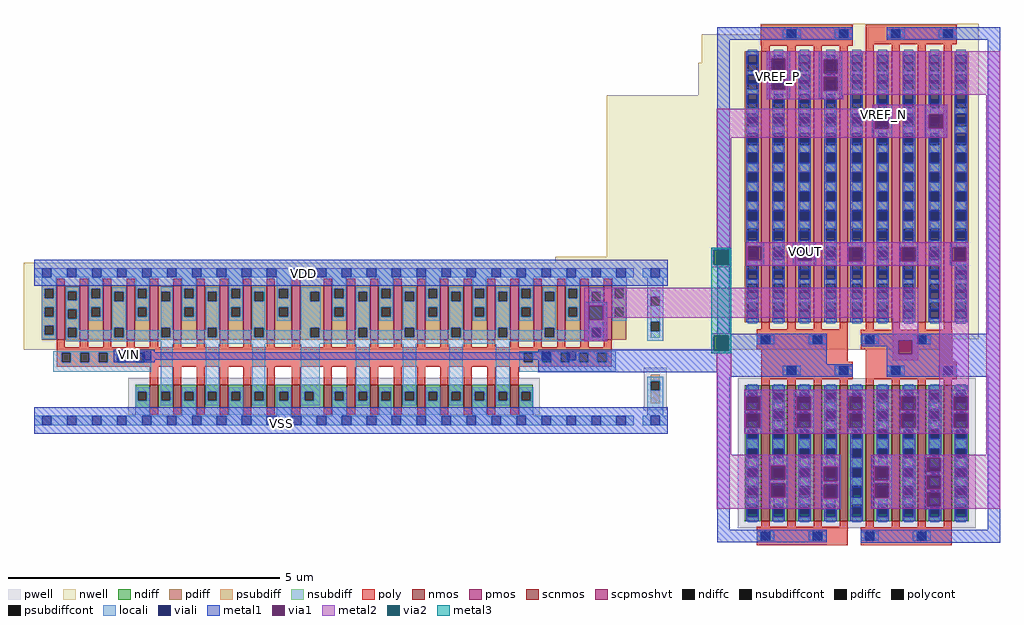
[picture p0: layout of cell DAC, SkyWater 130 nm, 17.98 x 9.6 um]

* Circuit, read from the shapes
.subckt DAC VREF_P VREF_N VOUT VDD VSS VIN
XM1 sky130_fd_sc_hd__clkinv_16_0/Y VIN VSS VSS sky130_fd_pr__nfet_01v8 w=0.42 l=0.15 m=16
XM2 VREF_N VIN VOUT VSS sky130_fd_pr__nfet_01v8 w=2.5 l=0.15 m=4
XM3 VREF_P sky130_fd_sc_hd__clkinv_16_0/Y VOUT VSS sky130_fd_pr__nfet_01v8 w=2.5 l=0.15 m=4
XM4 sky130_fd_sc_hd__clkinv_16_0/Y VIN VDD VDD sky130_fd_pr__pfet_01v8_hvt w=1 l=0.15 m=24
XM5 VREF_P VIN VOUT VDD sky130_fd_pr__pfet_01v8 w=5 l=0.15 m=4
XM6 VREF_N sky130_fd_sc_hd__clkinv_16_0/Y VOUT VDD sky130_fd_pr__pfet_01v8 w=5 l=0.15 m=4
.ends

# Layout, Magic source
magic
tech sky130B
magscale 1 2
<< nwell >>
rect -121 1057 898 1162
rect -135 937 898 1057
rect -472 343 898 937
rect -662 38 898 343
rect -655 0 802 38
<< poly >>
rect 96 1119 434 1197
rect 482 1126 818 1197
rect 291 1100 317 1119
rect 80 2 416 75
rect 464 2 801 74
rect 98 -44 416 2
rect 482 -44 801 2
rect 98 -110 434 -44
rect 482 -110 818 -44
rect 80 -720 416 -653
rect 464 -720 800 -654
<< viali >>
rect -528 46 -494 80
<< metal1 >>
rect -65 1141 434 1188
rect 560 1141 977 1187
rect -2581 235 -247 331
rect -554 162 -470 175
rect -554 110 -539 162
rect -487 110 -470 162
rect -554 80 -470 110
rect -554 46 -528 80
rect -494 46 -470 80
rect -554 31 -470 46
rect -65 59 -19 1141
rect 117 1073 202 1100
rect 117 1021 134 1073
rect 186 1021 202 1073
rect 117 1009 202 1021
rect 117 957 134 1009
rect 186 957 202 1009
rect 117 923 202 957
rect 310 1069 395 1100
rect 310 1017 327 1069
rect 379 1017 395 1069
rect 310 1005 395 1017
rect 310 953 327 1005
rect 379 953 395 1005
rect 310 924 395 953
rect 507 866 580 902
rect 507 814 516 866
rect 568 814 580 866
rect 507 780 580 814
rect 700 867 782 902
rect 700 815 715 867
rect 767 815 782 867
rect 700 780 782 815
rect 41 381 107 396
rect 41 329 48 381
rect 100 329 107 381
rect 41 309 107 329
rect 213 380 298 396
rect 213 328 231 380
rect 283 328 298 380
rect 213 309 298 328
rect 416 377 483 395
rect 416 325 420 377
rect 472 325 483 377
rect 416 309 483 325
rect 608 378 674 395
rect 608 326 614 378
rect 666 326 674 378
rect 608 309 674 326
rect 793 378 862 396
rect 793 326 801 378
rect 853 326 862 378
rect 793 309 862 326
rect 931 59 977 1141
rect -65 0 338 59
rect 468 35 977 59
rect 468 13 602 35
rect -2289 -47 -2138 0
rect -724 -54 338 0
rect 560 -17 602 13
rect 654 -17 977 35
rect -724 -83 434 -54
rect -65 -100 434 -83
rect 560 -100 977 -17
rect -2581 -309 -247 -213
rect -65 -664 -19 -100
rect 34 -171 100 -147
rect 34 -223 41 -171
rect 93 -223 100 -171
rect 34 -235 100 -223
rect 34 -287 41 -235
rect 93 -287 100 -235
rect 34 -309 100 -287
rect 218 -171 293 -147
rect 218 -223 228 -171
rect 280 -223 293 -171
rect 218 -235 293 -223
rect 218 -287 228 -235
rect 280 -287 293 -235
rect 218 -308 293 -287
rect 412 -171 484 -147
rect 412 -223 417 -171
rect 469 -223 484 -171
rect 412 -235 484 -223
rect 412 -287 417 -235
rect 469 -287 484 -235
rect 412 -309 484 -287
rect 607 -171 677 -147
rect 607 -223 614 -171
rect 666 -223 677 -171
rect 607 -235 677 -223
rect 607 -287 614 -235
rect 666 -287 677 -235
rect 607 -309 677 -287
rect 800 -171 862 -147
rect 800 -223 807 -171
rect 859 -223 862 -171
rect 800 -235 862 -223
rect 800 -287 807 -235
rect 859 -287 862 -235
rect 800 -309 862 -287
rect 125 -428 195 -387
rect 125 -480 133 -428
rect 185 -480 195 -428
rect 125 -492 195 -480
rect 125 -544 133 -492
rect 185 -544 195 -492
rect 125 -586 195 -544
rect 316 -432 388 -387
rect 316 -484 327 -432
rect 379 -484 388 -432
rect 316 -496 388 -484
rect 316 -548 327 -496
rect 379 -548 388 -496
rect 316 -588 388 -548
rect 505 -429 580 -387
rect 505 -481 516 -429
rect 568 -481 580 -429
rect 505 -493 580 -481
rect 505 -545 516 -493
rect 568 -545 580 -493
rect 505 -587 580 -545
rect 698 -398 769 -387
rect 698 -450 707 -398
rect 759 -450 769 -398
rect 698 -462 769 -450
rect 698 -514 707 -462
rect 759 -514 769 -462
rect 698 -526 769 -514
rect 698 -578 707 -526
rect 759 -578 769 -526
rect 698 -588 769 -578
rect 931 -664 977 -100
rect -65 -710 338 -664
rect 464 -711 977 -664
<< via1 >>
rect -539 110 -487 162
rect 134 1021 186 1073
rect 134 957 186 1009
rect 327 1017 379 1069
rect 327 953 379 1005
rect 516 814 568 866
rect 715 815 767 867
rect 48 329 100 381
rect 231 328 283 380
rect 420 325 472 377
rect 614 326 666 378
rect 801 326 853 378
rect 602 -17 654 35
rect 41 -223 93 -171
rect 41 -287 93 -235
rect 228 -223 280 -171
rect 228 -287 280 -235
rect 417 -223 469 -171
rect 417 -287 469 -235
rect 614 -223 666 -171
rect 614 -287 666 -235
rect 807 -223 859 -171
rect 807 -287 859 -235
rect 133 -480 185 -428
rect 133 -544 185 -492
rect 327 -484 379 -432
rect 327 -548 379 -496
rect 516 -481 568 -429
rect 516 -545 568 -493
rect 707 -450 759 -398
rect 707 -514 759 -462
rect 707 -578 759 -526
<< metal2 >>
rect 118 1073 977 1100
rect 118 1021 134 1073
rect 186 1069 977 1073
rect 186 1021 327 1069
rect 118 1017 327 1021
rect 379 1017 977 1069
rect 118 1009 977 1017
rect 118 957 134 1009
rect 186 1005 977 1009
rect 186 957 327 1005
rect 118 953 327 957
rect 379 953 977 1005
rect 118 940 977 953
rect 118 923 400 940
rect 507 888 782 902
rect -67 867 782 888
rect -67 866 715 867
rect -67 814 516 866
rect 568 815 715 866
rect 767 815 782 867
rect 568 814 782 815
rect -67 780 782 814
rect -67 375 -13 780
rect -87 368 -13 375
rect -87 312 -77 368
rect -21 312 -13 368
rect -87 303 -13 312
rect 42 381 862 396
rect 42 329 48 381
rect 100 380 862 381
rect 100 329 231 380
rect 42 328 231 329
rect 283 378 862 380
rect 283 377 614 378
rect 283 328 420 377
rect 42 325 420 328
rect 472 326 614 377
rect 666 326 801 378
rect 853 326 862 378
rect 472 325 862 326
rect 42 309 862 325
rect -554 162 675 228
rect -554 110 -539 162
rect -487 118 675 162
rect -487 110 -470 118
rect -554 31 -470 110
rect -87 51 -13 61
rect -87 -5 -78 51
rect -22 -5 -13 51
rect -87 -14 -13 -5
rect -67 -388 -13 -14
rect 581 35 675 118
rect 581 -17 602 35
rect 654 -17 675 35
rect 581 -40 675 -17
rect 754 -147 862 309
rect 34 -171 862 -147
rect 34 -223 41 -171
rect 93 -223 228 -171
rect 280 -223 417 -171
rect 469 -223 614 -171
rect 666 -223 807 -171
rect 859 -223 862 -171
rect 34 -235 862 -223
rect 34 -287 41 -235
rect 93 -287 228 -235
rect 280 -287 417 -235
rect 469 -287 614 -235
rect 666 -287 807 -235
rect 859 -287 862 -235
rect 34 -309 862 -287
rect 927 -387 977 940
rect 125 -388 387 -387
rect -67 -428 387 -388
rect -67 -480 133 -428
rect 185 -432 387 -428
rect 185 -480 327 -432
rect -67 -484 327 -480
rect 379 -484 387 -432
rect -67 -492 387 -484
rect -67 -544 133 -492
rect 185 -496 387 -492
rect 185 -544 327 -496
rect -67 -548 327 -544
rect 379 -548 387 -496
rect -67 -587 387 -548
rect 501 -398 977 -387
rect 501 -429 707 -398
rect 501 -481 516 -429
rect 568 -450 707 -429
rect 759 -450 977 -398
rect 568 -462 977 -450
rect 568 -481 707 -462
rect 501 -493 707 -481
rect 501 -545 516 -493
rect 568 -514 707 -493
rect 759 -514 977 -462
rect 568 -526 977 -514
rect 568 -545 707 -526
rect 501 -578 707 -545
rect 759 -578 977 -526
rect 501 -587 977 -578
<< via2 >>
rect -77 312 -21 368
rect -78 -5 -22 51
<< metal3 >>
rect -87 368 -13 375
rect -87 312 -77 368
rect -21 312 -13 368
rect -87 51 -13 312
rect -87 -5 -78 51
rect -22 -5 -13 51
rect -87 -14 -13 -5
use sky130_fd_pr__nfet_01v8_WWN8PW  sky130_fd_pr__nfet_01v8_WWN8PW_0
transform 1 0 641 0 1 -382
box -247 -338 247 338
use sky130_fd_pr__nfet_01v8_WWN8PW  sky130_fd_pr__nfet_01v8_WWN8PW_1
transform 1 0 257 0 1 -382
box -247 -338 247 338
use sky130_fd_pr__pfet_01v8_52DJHB  sky130_fd_pr__pfet_01v8_52DJHB_0
transform 1 0 641 0 1 600
box -257 -600 257 600
use sky130_fd_pr__pfet_01v8_52DJHB  sky130_fd_pr__pfet_01v8_52DJHB_1
transform 1 0 257 0 1 600
box -257 -600 257 600
use sky130_fd_sc_hd__clkinv_16  sky130_fd_sc_hd__clkinv_16_0
transform 1 0 -2581 0 1 -261
box -38 -48 2246 592
use sky130_fd_sc_hd__tapvpwrvgnd_1  sky130_fd_sc_hd__tapvpwrvgnd_1_0
transform 1 0 -339 0 1 -261
box -38 -48 130 592
<< labels >>
flabel metal2 s 159 1006 159 1006 0 FreeSans 600 0 0 0 VREF_P
port 1 nsew
flabel metal2 s 546 865 546 865 0 FreeSans 600 0 0 0 VREF_N
port 2 nsew
flabel metal2 s 260 363 260 363 0 FreeSans 600 0 0 0 VOUT
port 3 nsew
flabel metal1 s -1590 282 -1590 282 0 FreeSans 800 0 0 0 VDD
port 4 nsew
flabel metal1 s -1671 -271 -1671 -271 0 FreeSans 800 0 0 0 VSS
port 5 nsew
flabel metal1 s -2230 -19 -2230 -19 0 FreeSans 800 0 0 0 VIN
port 6 nsew
<< end >>

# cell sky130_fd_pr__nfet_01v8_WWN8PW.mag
magic
tech sky130B
magscale 1 2
<< pwell >>
rect -247 -276 247 276
<< nmos >>
rect -159 -250 -129 250
rect -63 -250 -33 250
rect 33 -250 63 250
rect 129 -250 159 250
<< ndiff >>
rect -221 221 -159 250
rect -221 187 -209 221
rect -175 187 -159 221
rect -221 153 -159 187
rect -221 119 -209 153
rect -175 119 -159 153
rect -221 85 -159 119
rect -221 51 -209 85
rect -175 51 -159 85
rect -221 17 -159 51
rect -221 -17 -209 17
rect -175 -17 -159 17
rect -221 -51 -159 -17
rect -221 -85 -209 -51
rect -175 -85 -159 -51
rect -221 -119 -159 -85
rect -221 -153 -209 -119
rect -175 -153 -159 -119
rect -221 -187 -159 -153
rect -221 -221 -209 -187
rect -175 -221 -159 -187
rect -221 -250 -159 -221
rect -129 221 -63 250
rect -129 187 -113 221
rect -79 187 -63 221
rect -129 153 -63 187
rect -129 119 -113 153
rect -79 119 -63 153
rect -129 85 -63 119
rect -129 51 -113 85
rect -79 51 -63 85
rect -129 17 -63 51
rect -129 -17 -113 17
rect -79 -17 -63 17
rect -129 -51 -63 -17
rect -129 -85 -113 -51
rect -79 -85 -63 -51
rect -129 -119 -63 -85
rect -129 -153 -113 -119
rect -79 -153 -63 -119
rect -129 -187 -63 -153
rect -129 -221 -113 -187
rect -79 -221 -63 -187
rect -129 -250 -63 -221
rect -33 221 33 250
rect -33 187 -17 221
rect 17 187 33 221
rect -33 153 33 187
rect -33 119 -17 153
rect 17 119 33 153
rect -33 85 33 119
rect -33 51 -17 85
rect 17 51 33 85
rect -33 17 33 51
rect -33 -17 -17 17
rect 17 -17 33 17
rect -33 -51 33 -17
rect -33 -85 -17 -51
rect 17 -85 33 -51
rect -33 -119 33 -85
rect -33 -153 -17 -119
rect 17 -153 33 -119
rect -33 -187 33 -153
rect -33 -221 -17 -187
rect 17 -221 33 -187
rect -33 -250 33 -221
rect 63 221 129 250
rect 63 187 79 221
rect 113 187 129 221
rect 63 153 129 187
rect 63 119 79 153
rect 113 119 129 153
rect 63 85 129 119
rect 63 51 79 85
rect 113 51 129 85
rect 63 17 129 51
rect 63 -17 79 17
rect 113 -17 129 17
rect 63 -51 129 -17
rect 63 -85 79 -51
rect 113 -85 129 -51
rect 63 -119 129 -85
rect 63 -153 79 -119
rect 113 -153 129 -119
rect 63 -187 129 -153
rect 63 -221 79 -187
rect 113 -221 129 -187
rect 63 -250 129 -221
rect 159 221 221 250
rect 159 187 175 221
rect 209 187 221 221
rect 159 153 221 187
rect 159 119 175 153
rect 209 119 221 153
rect 159 85 221 119
rect 159 51 175 85
rect 209 51 221 85
rect 159 17 221 51
rect 159 -17 175 17
rect 209 -17 221 17
rect 159 -51 221 -17
rect 159 -85 175 -51
rect 209 -85 221 -51
rect 159 -119 221 -85
rect 159 -153 175 -119
rect 209 -153 221 -119
rect 159 -187 221 -153
rect 159 -221 175 -187
rect 209 -221 221 -187
rect 159 -250 221 -221
<< ndiffc >>
rect -209 187 -175 221
rect -209 119 -175 153
rect -209 51 -175 85
rect -209 -17 -175 17
rect -209 -85 -175 -51
rect -209 -153 -175 -119
rect -209 -221 -175 -187
rect -113 187 -79 221
rect -113 119 -79 153
rect -113 51 -79 85
rect -113 -17 -79 17
rect -113 -85 -79 -51
rect -113 -153 -79 -119
rect -113 -221 -79 -187
rect -17 187 17 221
rect -17 119 17 153
rect -17 51 17 85
rect -17 -17 17 17
rect -17 -85 17 -51
rect -17 -153 17 -119
rect -17 -221 17 -187
rect 79 187 113 221
rect 79 119 113 153
rect 79 51 113 85
rect 79 -17 113 17
rect 79 -85 113 -51
rect 79 -153 113 -119
rect 79 -221 113 -187
rect 175 187 209 221
rect 175 119 209 153
rect 175 51 209 85
rect 175 -17 209 17
rect 175 -85 209 -51
rect 175 -153 209 -119
rect 175 -221 209 -187
<< poly >>
rect -81 322 -15 338
rect -81 288 -65 322
rect -31 288 -15 322
rect -159 250 -129 276
rect -81 272 -15 288
rect 111 322 177 338
rect 111 288 127 322
rect 161 288 177 322
rect -63 250 -33 272
rect 33 250 63 276
rect 111 272 177 288
rect 129 250 159 272
rect -159 -272 -129 -250
rect -177 -288 -111 -272
rect -63 -276 -33 -250
rect 33 -272 63 -250
rect -177 -322 -161 -288
rect -127 -322 -111 -288
rect -177 -338 -111 -322
rect 15 -288 81 -272
rect 129 -276 159 -250
rect 15 -322 31 -288
rect 65 -322 81 -288
rect 15 -338 81 -322
<< polycont >>
rect -65 288 -31 322
rect 127 288 161 322
rect -161 -322 -127 -288
rect 31 -322 65 -288
<< locali >>
rect -81 288 -65 322
rect -31 288 -15 322
rect 111 288 127 322
rect 161 288 177 322
rect -209 233 -175 254
rect -209 161 -175 187
rect -209 89 -175 119
rect -209 17 -175 51
rect -209 -51 -175 -17
rect -209 -119 -175 -89
rect -209 -187 -175 -161
rect -209 -254 -175 -233
rect -113 233 -79 254
rect -113 161 -79 187
rect -113 89 -79 119
rect -113 17 -79 51
rect -113 -51 -79 -17
rect -113 -119 -79 -89
rect -113 -187 -79 -161
rect -113 -254 -79 -233
rect -17 233 17 254
rect -17 161 17 187
rect -17 89 17 119
rect -17 17 17 51
rect -17 -51 17 -17
rect -17 -119 17 -89
rect -17 -187 17 -161
rect -17 -254 17 -233
rect 79 233 113 254
rect 79 161 113 187
rect 79 89 113 119
rect 79 17 113 51
rect 79 -51 113 -17
rect 79 -119 113 -89
rect 79 -187 113 -161
rect 79 -254 113 -233
rect 175 233 209 254
rect 175 161 209 187
rect 175 89 209 119
rect 175 17 209 51
rect 175 -51 209 -17
rect 175 -119 209 -89
rect 175 -187 209 -161
rect 175 -254 209 -233
rect -177 -322 -161 -288
rect -127 -322 -111 -288
rect 15 -322 31 -288
rect 65 -322 81 -288
<< viali >>
rect -65 288 -31 322
rect 127 288 161 322
rect -209 221 -175 233
rect -209 199 -175 221
rect -209 153 -175 161
rect -209 127 -175 153
rect -209 85 -175 89
rect -209 55 -175 85
rect -209 -17 -175 17
rect -209 -85 -175 -55
rect -209 -89 -175 -85
rect -209 -153 -175 -127
rect -209 -161 -175 -153
rect -209 -221 -175 -199
rect -209 -233 -175 -221
rect -113 221 -79 233
rect -113 199 -79 221
rect -113 153 -79 161
rect -113 127 -79 153
rect -113 85 -79 89
rect -113 55 -79 85
rect -113 -17 -79 17
rect -113 -85 -79 -55
rect -113 -89 -79 -85
rect -113 -153 -79 -127
rect -113 -161 -79 -153
rect -113 -221 -79 -199
rect -113 -233 -79 -221
rect -17 221 17 233
rect -17 199 17 221
rect -17 153 17 161
rect -17 127 17 153
rect -17 85 17 89
rect -17 55 17 85
rect -17 -17 17 17
rect -17 -85 17 -55
rect -17 -89 17 -85
rect -17 -153 17 -127
rect -17 -161 17 -153
rect -17 -221 17 -199
rect -17 -233 17 -221
rect 79 221 113 233
rect 79 199 113 221
rect 79 153 113 161
rect 79 127 113 153
rect 79 85 113 89
rect 79 55 113 85
rect 79 -17 113 17
rect 79 -85 113 -55
rect 79 -89 113 -85
rect 79 -153 113 -127
rect 79 -161 113 -153
rect 79 -221 113 -199
rect 79 -233 113 -221
rect 175 221 209 233
rect 175 199 209 221
rect 175 153 209 161
rect 175 127 209 153
rect 175 85 209 89
rect 175 55 209 85
rect 175 -17 209 17
rect 175 -85 209 -55
rect 175 -89 209 -85
rect 175 -153 209 -127
rect 175 -161 209 -153
rect 175 -221 209 -199
rect 175 -233 209 -221
rect -161 -322 -127 -288
rect 31 -322 65 -288
<< metal1 >>
rect -77 322 -19 328
rect -77 288 -65 322
rect -31 288 -19 322
rect -77 282 -19 288
rect 115 322 173 328
rect 115 288 127 322
rect 161 288 173 322
rect 115 282 173 288
rect -215 233 -169 250
rect -215 199 -209 233
rect -175 199 -169 233
rect -215 161 -169 199
rect -215 127 -209 161
rect -175 127 -169 161
rect -215 89 -169 127
rect -215 55 -209 89
rect -175 55 -169 89
rect -215 17 -169 55
rect -215 -17 -209 17
rect -175 -17 -169 17
rect -215 -55 -169 -17
rect -215 -89 -209 -55
rect -175 -89 -169 -55
rect -215 -127 -169 -89
rect -215 -161 -209 -127
rect -175 -161 -169 -127
rect -215 -199 -169 -161
rect -215 -233 -209 -199
rect -175 -233 -169 -199
rect -215 -250 -169 -233
rect -119 233 -73 250
rect -119 199 -113 233
rect -79 199 -73 233
rect -119 161 -73 199
rect -119 127 -113 161
rect -79 127 -73 161
rect -119 89 -73 127
rect -119 55 -113 89
rect -79 55 -73 89
rect -119 17 -73 55
rect -119 -17 -113 17
rect -79 -17 -73 17
rect -119 -55 -73 -17
rect -119 -89 -113 -55
rect -79 -89 -73 -55
rect -119 -127 -73 -89
rect -119 -161 -113 -127
rect -79 -161 -73 -127
rect -119 -199 -73 -161
rect -119 -233 -113 -199
rect -79 -233 -73 -199
rect -119 -250 -73 -233
rect -23 233 23 250
rect -23 199 -17 233
rect 17 199 23 233
rect -23 161 23 199
rect -23 127 -17 161
rect 17 127 23 161
rect -23 89 23 127
rect -23 55 -17 89
rect 17 55 23 89
rect -23 17 23 55
rect -23 -17 -17 17
rect 17 -17 23 17
rect -23 -55 23 -17
rect -23 -89 -17 -55
rect 17 -89 23 -55
rect -23 -127 23 -89
rect -23 -161 -17 -127
rect 17 -161 23 -127
rect -23 -199 23 -161
rect -23 -233 -17 -199
rect 17 -233 23 -199
rect -23 -250 23 -233
rect 73 233 119 250
rect 73 199 79 233
rect 113 199 119 233
rect 73 161 119 199
rect 73 127 79 161
rect 113 127 119 161
rect 73 89 119 127
rect 73 55 79 89
rect 113 55 119 89
rect 73 17 119 55
rect 73 -17 79 17
rect 113 -17 119 17
rect 73 -55 119 -17
rect 73 -89 79 -55
rect 113 -89 119 -55
rect 73 -127 119 -89
rect 73 -161 79 -127
rect 113 -161 119 -127
rect 73 -199 119 -161
rect 73 -233 79 -199
rect 113 -233 119 -199
rect 73 -250 119 -233
rect 169 233 215 250
rect 169 199 175 233
rect 209 199 215 233
rect 169 161 215 199
rect 169 127 175 161
rect 209 127 215 161
rect 169 89 215 127
rect 169 55 175 89
rect 209 55 215 89
rect 169 17 215 55
rect 169 -17 175 17
rect 209 -17 215 17
rect 169 -55 215 -17
rect 169 -89 175 -55
rect 209 -89 215 -55
rect 169 -127 215 -89
rect 169 -161 175 -127
rect 209 -161 215 -127
rect 169 -199 215 -161
rect 169 -233 175 -199
rect 209 -233 215 -199
rect 169 -250 215 -233
rect -173 -288 -115 -282
rect -173 -322 -161 -288
rect -127 -322 -115 -288
rect -173 -328 -115 -322
rect 19 -288 77 -282
rect 19 -322 31 -288
rect 65 -322 77 -288
rect 19 -328 77 -322
<< end >>

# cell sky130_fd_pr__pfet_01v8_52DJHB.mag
magic
tech sky130B
magscale 1 2
<< nwell >>
rect -161 562 257 600
rect -257 -562 257 562
rect -257 -600 161 -562
<< pmos >>
rect -159 -500 -129 500
rect -63 -500 -33 500
rect 33 -500 63 500
rect 129 -500 159 500
<< pdiff >>
rect -221 459 -159 500
rect -221 425 -209 459
rect -175 425 -159 459
rect -221 391 -159 425
rect -221 357 -209 391
rect -175 357 -159 391
rect -221 323 -159 357
rect -221 289 -209 323
rect -175 289 -159 323
rect -221 255 -159 289
rect -221 221 -209 255
rect -175 221 -159 255
rect -221 187 -159 221
rect -221 153 -209 187
rect -175 153 -159 187
rect -221 119 -159 153
rect -221 85 -209 119
rect -175 85 -159 119
rect -221 51 -159 85
rect -221 17 -209 51
rect -175 17 -159 51
rect -221 -17 -159 17
rect -221 -51 -209 -17
rect -175 -51 -159 -17
rect -221 -85 -159 -51
rect -221 -119 -209 -85
rect -175 -119 -159 -85
rect -221 -153 -159 -119
rect -221 -187 -209 -153
rect -175 -187 -159 -153
rect -221 -221 -159 -187
rect -221 -255 -209 -221
rect -175 -255 -159 -221
rect -221 -289 -159 -255
rect -221 -323 -209 -289
rect -175 -323 -159 -289
rect -221 -357 -159 -323
rect -221 -391 -209 -357
rect -175 -391 -159 -357
rect -221 -425 -159 -391
rect -221 -459 -209 -425
rect -175 -459 -159 -425
rect -221 -500 -159 -459
rect -129 459 -63 500
rect -129 425 -113 459
rect -79 425 -63 459
rect -129 391 -63 425
rect -129 357 -113 391
rect -79 357 -63 391
rect -129 323 -63 357
rect -129 289 -113 323
rect -79 289 -63 323
rect -129 255 -63 289
rect -129 221 -113 255
rect -79 221 -63 255
rect -129 187 -63 221
rect -129 153 -113 187
rect -79 153 -63 187
rect -129 119 -63 153
rect -129 85 -113 119
rect -79 85 -63 119
rect -129 51 -63 85
rect -129 17 -113 51
rect -79 17 -63 51
rect -129 -17 -63 17
rect -129 -51 -113 -17
rect -79 -51 -63 -17
rect -129 -85 -63 -51
rect -129 -119 -113 -85
rect -79 -119 -63 -85
rect -129 -153 -63 -119
rect -129 -187 -113 -153
rect -79 -187 -63 -153
rect -129 -221 -63 -187
rect -129 -255 -113 -221
rect -79 -255 -63 -221
rect -129 -289 -63 -255
rect -129 -323 -113 -289
rect -79 -323 -63 -289
rect -129 -357 -63 -323
rect -129 -391 -113 -357
rect -79 -391 -63 -357
rect -129 -425 -63 -391
rect -129 -459 -113 -425
rect -79 -459 -63 -425
rect -129 -500 -63 -459
rect -33 459 33 500
rect -33 425 -17 459
rect 17 425 33 459
rect -33 391 33 425
rect -33 357 -17 391
rect 17 357 33 391
rect -33 323 33 357
rect -33 289 -17 323
rect 17 289 33 323
rect -33 255 33 289
rect -33 221 -17 255
rect 17 221 33 255
rect -33 187 33 221
rect -33 153 -17 187
rect 17 153 33 187
rect -33 119 33 153
rect -33 85 -17 119
rect 17 85 33 119
rect -33 51 33 85
rect -33 17 -17 51
rect 17 17 33 51
rect -33 -17 33 17
rect -33 -51 -17 -17
rect 17 -51 33 -17
rect -33 -85 33 -51
rect -33 -119 -17 -85
rect 17 -119 33 -85
rect -33 -153 33 -119
rect -33 -187 -17 -153
rect 17 -187 33 -153
rect -33 -221 33 -187
rect -33 -255 -17 -221
rect 17 -255 33 -221
rect -33 -289 33 -255
rect -33 -323 -17 -289
rect 17 -323 33 -289
rect -33 -357 33 -323
rect -33 -391 -17 -357
rect 17 -391 33 -357
rect -33 -425 33 -391
rect -33 -459 -17 -425
rect 17 -459 33 -425
rect -33 -500 33 -459
rect 63 459 129 500
rect 63 425 79 459
rect 113 425 129 459
rect 63 391 129 425
rect 63 357 79 391
rect 113 357 129 391
rect 63 323 129 357
rect 63 289 79 323
rect 113 289 129 323
rect 63 255 129 289
rect 63 221 79 255
rect 113 221 129 255
rect 63 187 129 221
rect 63 153 79 187
rect 113 153 129 187
rect 63 119 129 153
rect 63 85 79 119
rect 113 85 129 119
rect 63 51 129 85
rect 63 17 79 51
rect 113 17 129 51
rect 63 -17 129 17
rect 63 -51 79 -17
rect 113 -51 129 -17
rect 63 -85 129 -51
rect 63 -119 79 -85
rect 113 -119 129 -85
rect 63 -153 129 -119
rect 63 -187 79 -153
rect 113 -187 129 -153
rect 63 -221 129 -187
rect 63 -255 79 -221
rect 113 -255 129 -221
rect 63 -289 129 -255
rect 63 -323 79 -289
rect 113 -323 129 -289
rect 63 -357 129 -323
rect 63 -391 79 -357
rect 113 -391 129 -357
rect 63 -425 129 -391
rect 63 -459 79 -425
rect 113 -459 129 -425
rect 63 -500 129 -459
rect 159 459 221 500
rect 159 425 175 459
rect 209 425 221 459
rect 159 391 221 425
rect 159 357 175 391
rect 209 357 221 391
rect 159 323 221 357
rect 159 289 175 323
rect 209 289 221 323
rect 159 255 221 289
rect 159 221 175 255
rect 209 221 221 255
rect 159 187 221 221
rect 159 153 175 187
rect 209 153 221 187
rect 159 119 221 153
rect 159 85 175 119
rect 209 85 221 119
rect 159 51 221 85
rect 159 17 175 51
rect 209 17 221 51
rect 159 -17 221 17
rect 159 -51 175 -17
rect 209 -51 221 -17
rect 159 -85 221 -51
rect 159 -119 175 -85
rect 209 -119 221 -85
rect 159 -153 221 -119
rect 159 -187 175 -153
rect 209 -187 221 -153
rect 159 -221 221 -187
rect 159 -255 175 -221
rect 209 -255 221 -221
rect 159 -289 221 -255
rect 159 -323 175 -289
rect 209 -323 221 -289
rect 159 -357 221 -323
rect 159 -391 175 -357
rect 209 -391 221 -357
rect 159 -425 221 -391
rect 159 -459 175 -425
rect 209 -459 221 -425
rect 159 -500 221 -459
<< pdiffc >>
rect -209 425 -175 459
rect -209 357 -175 391
rect -209 289 -175 323
rect -209 221 -175 255
rect -209 153 -175 187
rect -209 85 -175 119
rect -209 17 -175 51
rect -209 -51 -175 -17
rect -209 -119 -175 -85
rect -209 -187 -175 -153
rect -209 -255 -175 -221
rect -209 -323 -175 -289
rect -209 -391 -175 -357
rect -209 -459 -175 -425
rect -113 425 -79 459
rect -113 357 -79 391
rect -113 289 -79 323
rect -113 221 -79 255
rect -113 153 -79 187
rect -113 85 -79 119
rect -113 17 -79 51
rect -113 -51 -79 -17
rect -113 -119 -79 -85
rect -113 -187 -79 -153
rect -113 -255 -79 -221
rect -113 -323 -79 -289
rect -113 -391 -79 -357
rect -113 -459 -79 -425
rect -17 425 17 459
rect -17 357 17 391
rect -17 289 17 323
rect -17 221 17 255
rect -17 153 17 187
rect -17 85 17 119
rect -17 17 17 51
rect -17 -51 17 -17
rect -17 -119 17 -85
rect -17 -187 17 -153
rect -17 -255 17 -221
rect -17 -323 17 -289
rect -17 -391 17 -357
rect -17 -459 17 -425
rect 79 425 113 459
rect 79 357 113 391
rect 79 289 113 323
rect 79 221 113 255
rect 79 153 113 187
rect 79 85 113 119
rect 79 17 113 51
rect 79 -51 113 -17
rect 79 -119 113 -85
rect 79 -187 113 -153
rect 79 -255 113 -221
rect 79 -323 113 -289
rect 79 -391 113 -357
rect 79 -459 113 -425
rect 175 425 209 459
rect 175 357 209 391
rect 175 289 209 323
rect 175 221 209 255
rect 175 153 209 187
rect 175 85 209 119
rect 175 17 209 51
rect 175 -51 209 -17
rect 175 -119 209 -85
rect 175 -187 209 -153
rect 175 -255 209 -221
rect 175 -323 209 -289
rect 175 -391 209 -357
rect 175 -459 209 -425
<< poly >>
rect -81 581 -15 597
rect -81 547 -65 581
rect -31 547 -15 581
rect -81 531 -15 547
rect 111 581 177 597
rect 111 547 127 581
rect 161 547 177 581
rect 111 531 177 547
rect -159 500 -129 526
rect -63 500 -33 531
rect 33 500 63 526
rect 129 500 159 531
rect -159 -531 -129 -500
rect -63 -526 -33 -500
rect 33 -531 63 -500
rect 129 -526 159 -500
rect -177 -547 -111 -531
rect -177 -581 -161 -547
rect -127 -581 -111 -547
rect -177 -597 -111 -581
rect 15 -547 81 -531
rect 15 -581 31 -547
rect 65 -581 81 -547
rect 15 -597 81 -581
<< polycont >>
rect -65 547 -31 581
rect 127 547 161 581
rect -161 -581 -127 -547
rect 31 -581 65 -547
<< locali >>
rect -81 547 -65 581
rect -31 547 -15 581
rect 111 547 127 581
rect 161 547 177 581
rect -209 485 -175 504
rect -209 413 -175 425
rect -209 341 -175 357
rect -209 269 -175 289
rect -209 197 -175 221
rect -209 125 -175 153
rect -209 53 -175 85
rect -209 -17 -175 17
rect -209 -85 -175 -53
rect -209 -153 -175 -125
rect -209 -221 -175 -197
rect -209 -289 -175 -269
rect -209 -357 -175 -341
rect -209 -425 -175 -413
rect -209 -504 -175 -485
rect -113 485 -79 504
rect -113 413 -79 425
rect -113 341 -79 357
rect -113 269 -79 289
rect -113 197 -79 221
rect -113 125 -79 153
rect -113 53 -79 85
rect -113 -17 -79 17
rect -113 -85 -79 -53
rect -113 -153 -79 -125
rect -113 -221 -79 -197
rect -113 -289 -79 -269
rect -113 -357 -79 -341
rect -113 -425 -79 -413
rect -113 -504 -79 -485
rect -17 485 17 504
rect -17 413 17 425
rect -17 341 17 357
rect -17 269 17 289
rect -17 197 17 221
rect -17 125 17 153
rect -17 53 17 85
rect -17 -17 17 17
rect -17 -85 17 -53
rect -17 -153 17 -125
rect -17 -221 17 -197
rect -17 -289 17 -269
rect -17 -357 17 -341
rect -17 -425 17 -413
rect -17 -504 17 -485
rect 79 485 113 504
rect 79 413 113 425
rect 79 341 113 357
rect 79 269 113 289
rect 79 197 113 221
rect 79 125 113 153
rect 79 53 113 85
rect 79 -17 113 17
rect 79 -85 113 -53
rect 79 -153 113 -125
rect 79 -221 113 -197
rect 79 -289 113 -269
rect 79 -357 113 -341
rect 79 -425 113 -413
rect 79 -504 113 -485
rect 175 485 209 504
rect 175 413 209 425
rect 175 341 209 357
rect 175 269 209 289
rect 175 197 209 221
rect 175 125 209 153
rect 175 53 209 85
rect 175 -17 209 17
rect 175 -85 209 -53
rect 175 -153 209 -125
rect 175 -221 209 -197
rect 175 -289 209 -269
rect 175 -357 209 -341
rect 175 -425 209 -413
rect 175 -504 209 -485
rect -177 -581 -161 -547
rect -127 -581 -111 -547
rect 15 -581 31 -547
rect 65 -581 81 -547
<< viali >>
rect -65 547 -31 581
rect 127 547 161 581
rect -209 459 -175 485
rect -209 451 -175 459
rect -209 391 -175 413
rect -209 379 -175 391
rect -209 323 -175 341
rect -209 307 -175 323
rect -209 255 -175 269
rect -209 235 -175 255
rect -209 187 -175 197
rect -209 163 -175 187
rect -209 119 -175 125
rect -209 91 -175 119
rect -209 51 -175 53
rect -209 19 -175 51
rect -209 -51 -175 -19
rect -209 -53 -175 -51
rect -209 -119 -175 -91
rect -209 -125 -175 -119
rect -209 -187 -175 -163
rect -209 -197 -175 -187
rect -209 -255 -175 -235
rect -209 -269 -175 -255
rect -209 -323 -175 -307
rect -209 -341 -175 -323
rect -209 -391 -175 -379
rect -209 -413 -175 -391
rect -209 -459 -175 -451
rect -209 -485 -175 -459
rect -113 459 -79 485
rect -113 451 -79 459
rect -113 391 -79 413
rect -113 379 -79 391
rect -113 323 -79 341
rect -113 307 -79 323
rect -113 255 -79 269
rect -113 235 -79 255
rect -113 187 -79 197
rect -113 163 -79 187
rect -113 119 -79 125
rect -113 91 -79 119
rect -113 51 -79 53
rect -113 19 -79 51
rect -113 -51 -79 -19
rect -113 -53 -79 -51
rect -113 -119 -79 -91
rect -113 -125 -79 -119
rect -113 -187 -79 -163
rect -113 -197 -79 -187
rect -113 -255 -79 -235
rect -113 -269 -79 -255
rect -113 -323 -79 -307
rect -113 -341 -79 -323
rect -113 -391 -79 -379
rect -113 -413 -79 -391
rect -113 -459 -79 -451
rect -113 -485 -79 -459
rect -17 459 17 485
rect -17 451 17 459
rect -17 391 17 413
rect -17 379 17 391
rect -17 323 17 341
rect -17 307 17 323
rect -17 255 17 269
rect -17 235 17 255
rect -17 187 17 197
rect -17 163 17 187
rect -17 119 17 125
rect -17 91 17 119
rect -17 51 17 53
rect -17 19 17 51
rect -17 -51 17 -19
rect -17 -53 17 -51
rect -17 -119 17 -91
rect -17 -125 17 -119
rect -17 -187 17 -163
rect -17 -197 17 -187
rect -17 -255 17 -235
rect -17 -269 17 -255
rect -17 -323 17 -307
rect -17 -341 17 -323
rect -17 -391 17 -379
rect -17 -413 17 -391
rect -17 -459 17 -451
rect -17 -485 17 -459
rect 79 459 113 485
rect 79 451 113 459
rect 79 391 113 413
rect 79 379 113 391
rect 79 323 113 341
rect 79 307 113 323
rect 79 255 113 269
rect 79 235 113 255
rect 79 187 113 197
rect 79 163 113 187
rect 79 119 113 125
rect 79 91 113 119
rect 79 51 113 53
rect 79 19 113 51
rect 79 -51 113 -19
rect 79 -53 113 -51
rect 79 -119 113 -91
rect 79 -125 113 -119
rect 79 -187 113 -163
rect 79 -197 113 -187
rect 79 -255 113 -235
rect 79 -269 113 -255
rect 79 -323 113 -307
rect 79 -341 113 -323
rect 79 -391 113 -379
rect 79 -413 113 -391
rect 79 -459 113 -451
rect 79 -485 113 -459
rect 175 459 209 485
rect 175 451 209 459
rect 175 391 209 413
rect 175 379 209 391
rect 175 323 209 341
rect 175 307 209 323
rect 175 255 209 269
rect 175 235 209 255
rect 175 187 209 197
rect 175 163 209 187
rect 175 119 209 125
rect 175 91 209 119
rect 175 51 209 53
rect 175 19 209 51
rect 175 -51 209 -19
rect 175 -53 209 -51
rect 175 -119 209 -91
rect 175 -125 209 -119
rect 175 -187 209 -163
rect 175 -197 209 -187
rect 175 -255 209 -235
rect 175 -269 209 -255
rect 175 -323 209 -307
rect 175 -341 209 -323
rect 175 -391 209 -379
rect 175 -413 209 -391
rect 175 -459 209 -451
rect 175 -485 209 -459
rect -161 -581 -127 -547
rect 31 -581 65 -547
<< metal1 >>
rect -77 581 -19 587
rect -77 547 -65 581
rect -31 547 -19 581
rect -77 541 -19 547
rect 115 581 173 587
rect 115 547 127 581
rect 161 547 173 581
rect 115 541 173 547
rect -215 485 -169 500
rect -215 451 -209 485
rect -175 451 -169 485
rect -215 413 -169 451
rect -215 379 -209 413
rect -175 379 -169 413
rect -215 341 -169 379
rect -215 307 -209 341
rect -175 307 -169 341
rect -215 269 -169 307
rect -215 235 -209 269
rect -175 235 -169 269
rect -215 197 -169 235
rect -215 163 -209 197
rect -175 163 -169 197
rect -215 125 -169 163
rect -215 91 -209 125
rect -175 91 -169 125
rect -215 53 -169 91
rect -215 19 -209 53
rect -175 19 -169 53
rect -215 -19 -169 19
rect -215 -53 -209 -19
rect -175 -53 -169 -19
rect -215 -91 -169 -53
rect -215 -125 -209 -91
rect -175 -125 -169 -91
rect -215 -163 -169 -125
rect -215 -197 -209 -163
rect -175 -197 -169 -163
rect -215 -235 -169 -197
rect -215 -269 -209 -235
rect -175 -269 -169 -235
rect -215 -307 -169 -269
rect -215 -341 -209 -307
rect -175 -341 -169 -307
rect -215 -379 -169 -341
rect -215 -413 -209 -379
rect -175 -413 -169 -379
rect -215 -451 -169 -413
rect -215 -485 -209 -451
rect -175 -485 -169 -451
rect -215 -500 -169 -485
rect -119 485 -73 500
rect -119 451 -113 485
rect -79 451 -73 485
rect -119 413 -73 451
rect -119 379 -113 413
rect -79 379 -73 413
rect -119 341 -73 379
rect -119 307 -113 341
rect -79 307 -73 341
rect -119 269 -73 307
rect -119 235 -113 269
rect -79 235 -73 269
rect -119 197 -73 235
rect -119 163 -113 197
rect -79 163 -73 197
rect -119 125 -73 163
rect -119 91 -113 125
rect -79 91 -73 125
rect -119 53 -73 91
rect -119 19 -113 53
rect -79 19 -73 53
rect -119 -19 -73 19
rect -119 -53 -113 -19
rect -79 -53 -73 -19
rect -119 -91 -73 -53
rect -119 -125 -113 -91
rect -79 -125 -73 -91
rect -119 -163 -73 -125
rect -119 -197 -113 -163
rect -79 -197 -73 -163
rect -119 -235 -73 -197
rect -119 -269 -113 -235
rect -79 -269 -73 -235
rect -119 -307 -73 -269
rect -119 -341 -113 -307
rect -79 -341 -73 -307
rect -119 -379 -73 -341
rect -119 -413 -113 -379
rect -79 -413 -73 -379
rect -119 -451 -73 -413
rect -119 -485 -113 -451
rect -79 -485 -73 -451
rect -119 -500 -73 -485
rect -23 485 23 500
rect -23 451 -17 485
rect 17 451 23 485
rect -23 413 23 451
rect -23 379 -17 413
rect 17 379 23 413
rect -23 341 23 379
rect -23 307 -17 341
rect 17 307 23 341
rect -23 269 23 307
rect -23 235 -17 269
rect 17 235 23 269
rect -23 197 23 235
rect -23 163 -17 197
rect 17 163 23 197
rect -23 125 23 163
rect -23 91 -17 125
rect 17 91 23 125
rect -23 53 23 91
rect -23 19 -17 53
rect 17 19 23 53
rect -23 -19 23 19
rect -23 -53 -17 -19
rect 17 -53 23 -19
rect -23 -91 23 -53
rect -23 -125 -17 -91
rect 17 -125 23 -91
rect -23 -163 23 -125
rect -23 -197 -17 -163
rect 17 -197 23 -163
rect -23 -235 23 -197
rect -23 -269 -17 -235
rect 17 -269 23 -235
rect -23 -307 23 -269
rect -23 -341 -17 -307
rect 17 -341 23 -307
rect -23 -379 23 -341
rect -23 -413 -17 -379
rect 17 -413 23 -379
rect -23 -451 23 -413
rect -23 -485 -17 -451
rect 17 -485 23 -451
rect -23 -500 23 -485
rect 73 485 119 500
rect 73 451 79 485
rect 113 451 119 485
rect 73 413 119 451
rect 73 379 79 413
rect 113 379 119 413
rect 73 341 119 379
rect 73 307 79 341
rect 113 307 119 341
rect 73 269 119 307
rect 73 235 79 269
rect 113 235 119 269
rect 73 197 119 235
rect 73 163 79 197
rect 113 163 119 197
rect 73 125 119 163
rect 73 91 79 125
rect 113 91 119 125
rect 73 53 119 91
rect 73 19 79 53
rect 113 19 119 53
rect 73 -19 119 19
rect 73 -53 79 -19
rect 113 -53 119 -19
rect 73 -91 119 -53
rect 73 -125 79 -91
rect 113 -125 119 -91
rect 73 -163 119 -125
rect 73 -197 79 -163
rect 113 -197 119 -163
rect 73 -235 119 -197
rect 73 -269 79 -235
rect 113 -269 119 -235
rect 73 -307 119 -269
rect 73 -341 79 -307
rect 113 -341 119 -307
rect 73 -379 119 -341
rect 73 -413 79 -379
rect 113 -413 119 -379
rect 73 -451 119 -413
rect 73 -485 79 -451
rect 113 -485 119 -451
rect 73 -500 119 -485
rect 169 485 215 500
rect 169 451 175 485
rect 209 451 215 485
rect 169 413 215 451
rect 169 379 175 413
rect 209 379 215 413
rect 169 341 215 379
rect 169 307 175 341
rect 209 307 215 341
rect 169 269 215 307
rect 169 235 175 269
rect 209 235 215 269
rect 169 197 215 235
rect 169 163 175 197
rect 209 163 215 197
rect 169 125 215 163
rect 169 91 175 125
rect 209 91 215 125
rect 169 53 215 91
rect 169 19 175 53
rect 209 19 215 53
rect 169 -19 215 19
rect 169 -53 175 -19
rect 209 -53 215 -19
rect 169 -91 215 -53
rect 169 -125 175 -91
rect 209 -125 215 -91
rect 169 -163 215 -125
rect 169 -197 175 -163
rect 209 -197 215 -163
rect 169 -235 215 -197
rect 169 -269 175 -235
rect 209 -269 215 -235
rect 169 -307 215 -269
rect 169 -341 175 -307
rect 209 -341 215 -307
rect 169 -379 215 -341
rect 169 -413 175 -379
rect 209 -413 215 -379
rect 169 -451 215 -413
rect 169 -485 175 -451
rect 209 -485 215 -451
rect 169 -500 215 -485
rect -173 -547 -115 -541
rect -173 -581 -161 -547
rect -127 -581 -115 -547
rect -173 -587 -115 -581
rect 19 -547 77 -541
rect 19 -581 31 -547
rect 65 -581 77 -547
rect 19 -587 77 -581
<< end >>

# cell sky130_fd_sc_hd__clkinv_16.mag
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
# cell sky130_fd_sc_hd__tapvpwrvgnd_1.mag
magic
tech sky130B
magscale 1 2
<< nwell >>
rect -38 261 130 582
<< pwell >>
rect 3 38 89 195
<< psubdiff >>
rect 29 145 63 169
rect 29 64 63 111
<< nsubdiff >>
rect 29 456 63 480
rect 29 363 63 422
rect 29 305 63 329
<< psubdiffcont >>
rect 29 111 63 145
<< nsubdiffcont >>
rect 29 422 63 456
rect 29 329 63 363
<< locali >>
rect 0 527 29 561
rect 63 527 92 561
rect 17 456 75 527
rect 17 422 29 456
rect 63 422 75 456
rect 17 363 75 422
rect 17 329 29 363
rect 63 329 75 363
rect 17 294 75 329
rect 17 145 75 162
rect 17 111 29 145
rect 63 111 75 145
rect 17 17 75 111
rect 0 -17 29 17
rect 63 -17 92 17
<< viali >>
rect 29 527 63 561
rect 29 -17 63 17
<< metal1 >>
rect 0 561 92 592
rect 0 527 29 561
rect 63 527 92 561
rect 0 496 92 527
rect 0 17 92 48
rect 0 -17 29 17
rect 63 -17 92 17
rect 0 -48 92 -17
<< labels >>
flabel metal1 s 22 524 75 553 0 FreeSans 200 0 0 0 VPWR
port 1 nsew
flabel metal1 s 21 -18 72 20 0 FreeSans 200 0 0 0 VGND
port 2 nsew
rlabel comment s 0 0 0 0 4 tapvpwrvgnd_1
<< properties >>
string FIXED_BBOX 0 0 92 544
<< end >>
